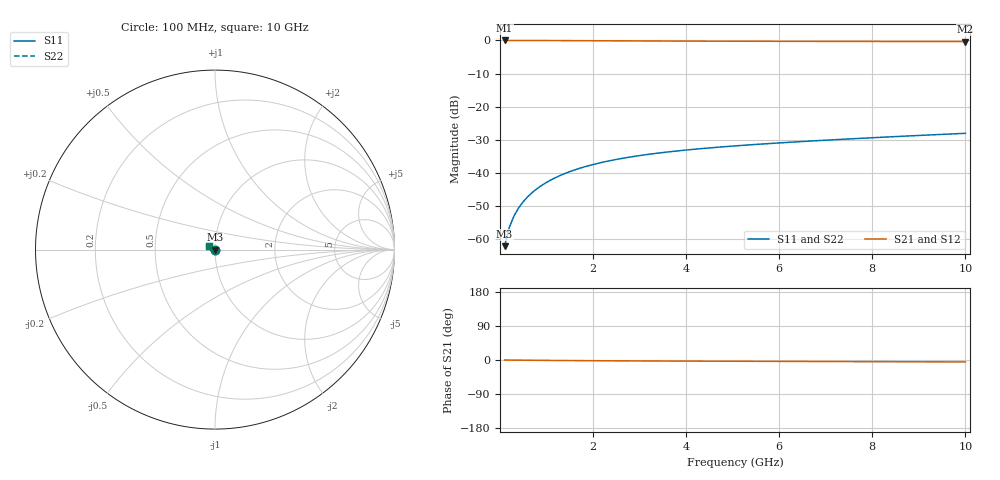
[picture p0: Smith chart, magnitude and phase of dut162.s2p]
! Touchstone file exported from HFSS 2024.1.0
!  File:  C:/UserFiles/LocalFiles/RDL_TSV_Batchsim/temp_TSV1_162_1779382450.aedt
!  Generated:  01:01:08 AM May 22, 2026
!  Design:  TSV1
!  Project:  temp_TSV1_162_1779382450
!  Setup:  Setup1
!  Solution:  Sweep
! Variables:
!  dtsv = 7.31um
!  hbump = 3um
!  htsv = 74.39um
!  lrdl = 252.1521522um
!  p = 40
!  p1 = 55.94um
!  t = 500um
!  trdl = 3um
!  wrdl = 24.89489489um
# GHz S MA R 50.000000
! Terminal data exported
! Port[1] = TSV22_T1
! Port[2] = TSV22_T2
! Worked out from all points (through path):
!   100 points, 100 MHz to 10 GHz, reference 50 ohm
!   highest |S21| = 0.00 dB at 100 MHz (marker M1); lowest = -0.3 dB at 10 GHz (marker M2)
!   lowest |S11| = -62.2 dB at 100 MHz (marker M3), VSWR 1.00, Z = 50 - j0.074 ohm
!   |S11| at or under -10 dB: start of sweep to end of sweep
!   |S22| runs from -62.2 to -28.1 dB; largest |S21 - S12| = 4.1e-15
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0.1  0.0007739 -72.9  0.9997 -0.1  0.9997 -0.1  0.0007739 -72.9
! Gamma 0 0 0 0
! Port Impedance 50 0 50 0
0.2  0.001481 -84.7  0.9996 -0.2  0.9996 -0.2  0.001481 -84.7
0.3  0.002201 -90.3  0.9995 -0.3  0.9995 -0.3  0.002201 -90.3
0.4  0.002921 -94.2  0.9992 -0.4  0.9992 -0.4  0.002921 -94.2
0.5  0.003639 -97.5  0.999 -0.5  0.999 -0.5  0.003639 -97.5
0.6  0.004352 -100.4  0.9986 -0.6  0.9986 -0.6  0.004352 -100.4
0.7  0.005059 -103.1  0.9982 -0.7  0.9982 -0.7  0.005059 -103.1
0.8  0.005759 -105.7  0.9978 -0.8  0.9978 -0.8  0.005759 -105.7
0.9  0.00645 -108.2  0.9973 -0.9  0.9973 -0.9  0.00645 -108.2
1.1  0.007803 -112.9  0.9963 -1.1  0.9963 -1.1  0.007803 -112.9
1.4  0.009748 -119.6  0.9945 -1.4  0.9945 -1.4  0.009748 -119.5
1.6  0.01098 -123.8  0.9932 -1.5  0.9932 -1.5  0.01098 -123.8
1.8  0.01216 -127.8  0.9918 -1.7  0.9918 -1.7  0.01216 -127.8
2.1  0.01383 -133.6  0.9897 -1.9  0.9897 -1.9  0.01383 -133.6
2.5  0.01586 -140.8  0.9869 -2.2  0.9869 -2.2  0.01586 -140.8
2.9  0.01771 -147.5  0.9842 -2.4  0.9842 -2.4  0.01771 -147.5
3.4  0.01978 -155.1  0.9811 -2.6  0.9811 -2.6  0.01978 -155.1
4.2  0.02269 -165.9  0.9768 -3.0  0.9768 -3.0  0.02269 -165.9
5.1  0.02556 -176.3  0.9729 -3.3  0.9729 -3.3  0.02556 -176.3
6.7  0.03017 168.8  0.9681 -3.9  0.9681 -3.9  0.03017 168.8
8.4  0.03488 156.6  0.9647 -4.5  0.9647 -4.5  0.03488 156.6
10  0.0394 147.5  0.9625 -5.1  0.9625 -5.1  0.03939 147.5
